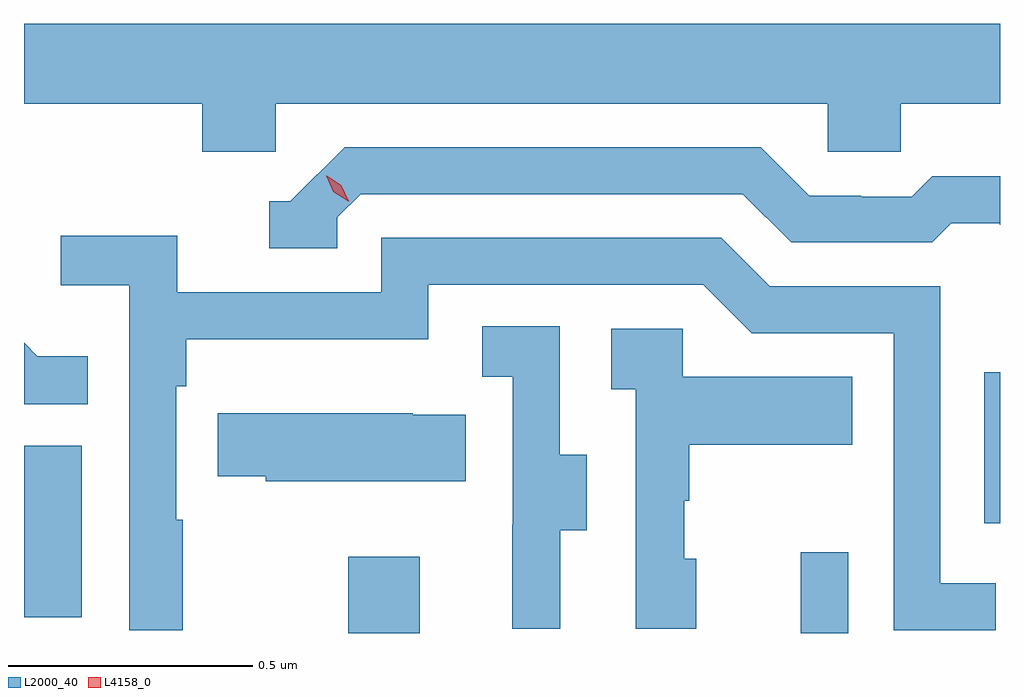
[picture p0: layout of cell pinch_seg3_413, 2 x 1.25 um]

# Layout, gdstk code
import gdstk
lib = gdstk.Library(unit=1e-6, precision=1e-09)
def R(c, l, rs):  # rectangles x0, y0, x1, y1
    for r in rs: c.add(gdstk.rectangle(r[:2], r[2:], *l))
def P(c, l, *ps):  # polygons
    for p in ps: c.add(gdstk.Polygon(p, *l))
L2000_40 = (2000, 40)
L4158_0 = (4158, 0)

pinch_seg3_413 = lib.new_cell('pinch_seg3_413')
R(pinch_seg3_413, L2000_40, [(904.642,699.831,904.789,699.988), (905.57,699.831,905.667,699.997), (903.978,699.864,904.096,700.215), (905.946,700.056,905.978,700.366)])
P(pinch_seg3_413, L2000_40, [(904.494,700.916),(905.625,700.916),(905.625,700.818),(905.775,700.818),(905.775,700.916),(905.978,700.916),(905.978,701.08),(903.978,701.08),(903.978,700.916),(904.343,700.916),(904.343,700.818),(904.494,700.818)],
  [(904.62,700.683),(904.668,700.731),(905.451,700.731),(905.55,700.632),(905.839,700.632),(905.878,700.671),(905.977,700.671),(905.977,700.668),(905.978,700.668),(905.978,700.768),(905.839,700.768),(905.797,700.725),(905.694,700.725),(905.694,700.728),(905.587,700.728),(905.488,700.827),(904.635,700.827),(904.524,700.716),(904.481,700.716),(904.481,700.62),(904.62,700.62)],
  [(904.303,700.064),(904.29,700.064),(904.29,700.337),(904.31,700.337),(904.31,700.433),(904.806,700.433),(904.806,700.545),(905.37,700.545),(905.469,700.446),(905.76,700.446),(905.76,699.837),(905.969,699.837),(905.969,699.933),(905.856,699.933),(905.856,700.542),(905.506,700.542),(905.407,700.641),(904.71,700.641),(904.71,700.53),(904.292,700.53),(904.292,700.646),(904.053,700.646),(904.053,700.544),(904.194,700.544),(904.194,699.837),(904.303,699.837)],
  [(905.077,700.042),(905.131,700.042),(905.131,700.197),(905.076,700.197),(905.076,700.46),(904.917,700.46),(904.917,700.357),(904.98,700.357),(904.98,700.053),(904.979,700.053),(904.979,699.84),(905.077,699.84)],
  [(905.356,699.984),(905.331,699.984),(905.331,700.103),(905.341,700.103),(905.341,700.217),(905.675,700.217),(905.675,700.357),(905.328,700.357),(905.328,700.455),(905.181,700.455),(905.181,700.331),(905.232,700.331),(905.232,699.84),(905.356,699.84)],
  [(904.109,700.399),(904.005,700.399),(903.978,700.426),(903.978,700.3),(904.109,700.3)],
  [(904.883,700.279),(904.775,700.279),(904.775,700.282),(904.375,700.282),(904.375,700.153),(904.473,700.153),(904.473,700.142),(904.883,700.142)])
P(pinch_seg3_413, L4158_0, [(904.642,700.716),(904.612,700.736),(904.597,700.769),(904.597,700.769),(904.598,700.769),(904.628,700.749),(904.643,700.716),(904.643,700.716)])

lib.write_gds('pinch_seg3_413.gds')
